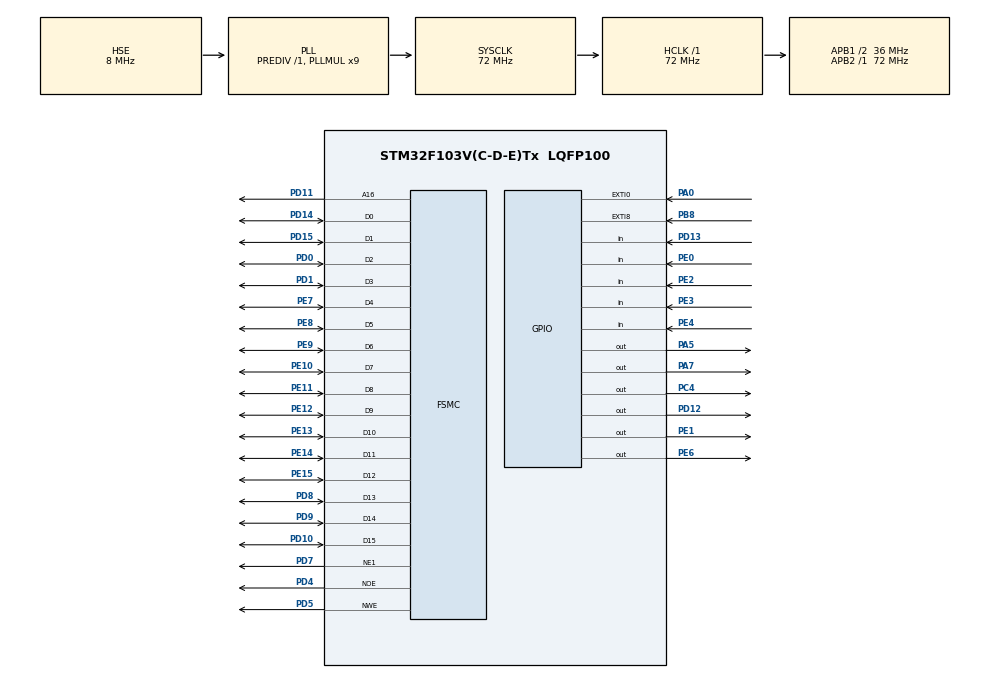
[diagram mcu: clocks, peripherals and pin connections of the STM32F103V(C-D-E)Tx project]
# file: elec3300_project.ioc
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Mcu.Family=STM32F1
Mcu.Name=STM32F103V(C-D-E)Tx
Mcu.Package=LQFP100
NVIC.EXTI4_IRQn=true\:0\:0\:false\:true\:true\:1\:true\:true
NVIC.EXTI9_5_IRQn=true\:0\:0\:false\:true\:true\:2\:true\:true
NVIC.PriorityGroup=NVIC_PRIORITYGROUP_4
OSC_IN.Mode=HSE-External-Oscillator
OSC_IN.Signal=RCC_OSC_IN
OSC_OUT.Mode=HSE-External-Oscillator
OSC_OUT.Signal=RCC_OSC_OUT
PA0-WKUP.Signal=GPXTI0
PA13.Mode=Serial_Wire
PA13.Signal=SYS_JTMS-SWDIO
PA14.Mode=Serial_Wire
PA14.Signal=SYS_JTCK-SWCLK
PA5.GPIO_Speed=GPIO_SPEED_FREQ_HIGH
PA5.PinState=GPIO_PIN_RESET
PA5.Signal=GPIO_Output
PA7.GPIO_Speed=GPIO_SPEED_FREQ_HIGH
PA7.Signal=GPIO_Output
PB8.GPIO_PuPd=GPIO_PULLDOWN
PB8.Signal=GPXTI8
PC14-OSC32_IN.Mode=LSE-External-Oscillator
PC14-OSC32_IN.Signal=RCC_OSC32_IN
PC15-OSC32_OUT.Mode=LSE-External-Oscillator
PC15-OSC32_OUT.Signal=RCC_OSC32_OUT
PC4.GPIO_Speed=GPIO_SPEED_FREQ_HIGH
PC4.Signal=GPIO_Output
PD0.Mode=16b-d1
PD0.Signal=FSMC_D2
PD1.Mode=16b-d1
PD1.Signal=FSMC_D3
PD10.Mode=16b-d1
PD10.Signal=FSMC_D15
PD11.Mode=A16_1
PD11.Signal=FSMC_A16
PD12.Signal=GPIO_Output
PD13.Signal=GPIO_Input
PD14.Mode=16b-d1
PD14.Signal=FSMC_D0
PD15.Mode=16b-d1
PD15.Signal=FSMC_D1
PD4.Mode=Lcd1
PD4.Signal=FSMC_NOE
PD5.Mode=Lcd1
PD5.Signal=FSMC_NWE
PD7.Mode=NorPsramChipSelect1_1
PD7.Signal=FSMC_NE1
PD8.Mode=16b-d1
PD8.Signal=FSMC_D13
PD9.Mode=16b-d1
PD9.Signal=FSMC_D14
PE0.Signal=GPIO_Input
PE1.Signal=GPIO_Output
PE10.Mode=16b-d1
PE10.Signal=FSMC_D7
PE11.Mode=16b-d1
PE11.Signal=FSMC_D8
PE12.Mode=16b-d1
PE12.Signal=FSMC_D9
PE13.Mode=16b-d1
PE13.Signal=FSMC_D10
PE14.Mode=16b-d1
PE14.Signal=FSMC_D11
PE15.Mode=16b-d1
PE15.Signal=FSMC_D12
PE2.Signal=GPIO_Input
PE3.Signal=GPIO_Input
PE4.Signal=GPIO_Input
PE6.GPIO_Speed=GPIO_SPEED_FREQ_HIGH
PE6.Signal=GPIO_Output
PE7.Mode=16b-d1
PE7.Signal=FSMC_D4
PE8.Mode=16b-d1
PE8.Signal=FSMC_D5
PE9.Mode=16b-d1
PE9.Signal=FSMC_D6
ProjectManager.HeapSize=0x200
ProjectManager.StackSize=0x400
ProjectManager.TargetToolchain=MDK-ARM V5
RCC.AHBFreq_Value=72000000
RCC.APB1CLKDivider=RCC_HCLK_DIV2
RCC.APB1Freq_Value=36000000
RCC.APB1TimFreq_Value=72000000
RCC.APB2Freq_Value=72000000
RCC.APB2TimFreq_Value=72000000
RCC.HCLKFreq_Value=72000000
RCC.PLLMUL=RCC_PLL_MUL9
RCC.PLLSourceVirtual=RCC_PLLSOURCE_HSE
RCC.SYSCLKFreq_VALUE=72000000
RCC.SYSCLKSource=RCC_SYSCLKSOURCE_PLLCLK
RCC.USBFreq_Value=72000000
board=custom

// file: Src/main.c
/* USER CODE BEGIN Header */
/**
  ******************************************************************************
  * @file           : main.c
  * @brief          : Main program body
  ******************************************************************************
  * @attention
  *
  * <h2><center>&copy; Copyright (c) 2021 STMicroelectronics.
  * All rights reserved.</center></h2>
  *
  * This software component is licensed by ST under BSD 3-Clause license,
  * the "License"; You may not use this file except in compliance with the
  * License. You may obtain a copy of the License at:
  *                        opensource.org/licenses/BSD-3-Clause
  *
  ******************************************************************************
  */
/* USER CODE END Header */

#include "main.h"

/* USER CODE BEGIN Includes */

#include "stdbool.h"
#include "lcdtp.h"
#include "xpt2046.h"
#include <stdio.h>
#include <string.h>
#include <time.h>

/* USER CODE END Includes */

/* USER CODE BEGIN PD */
	#define DEFAULT_FONTSIZE 		16
	#define	ADDR0								0x08017400
	#define	ADDR1								0x08017800
	#define	ADDR2								0x08016000
	#define	ADDR3								0x08016800
	#define ADDR4			 					0x08017C00
	#define NUM_PAGE						7
	#define DEFAULT_ROTATION		700
	#define MIN_ROTATION				0
	#define MAX_ROTATION				1000
	#define DEFAULT_HOUR				2.0
	#define MAX_HOUR						36.0

/* USER CODE END PD */

	SRAM_HandleTypeDef hsram1;

/* USER CODE BEGIN PV */
	char *windDirName[3] = {"clockwise", "anti-clockwise", "bi-directional"};
	bool interruptFlag = false;
	unsigned int interruptTimer = refractoryPeriod;
	strType_XPT2046_TouchPara touchPara = {0.085958, -0.001073, -4.979353, -0.001750, 0.065168, -13.318824};

	char *modelName[] = {"AP Royal Oak 2012", "CHOPARD LUC 1937", "HUBLOT 1915", "PIAGET Altiplano", "OMEGA Seamaster"};
	int modelTurn[5] = {800, 800, 650, 1340, 650};
	int modelWindDir[5] = {0,0,2,1,2};

/* USER CODE END PV */

	void SystemClock_Config(void);
	static void MX_GPIO_Init(void);
	static void MX_FSMC_Init(void);
	static void MX_NVIC_Init(void);

/* USER CODE BEGIN 0 */

	uint32_t eraseAllData(void) {
		/*
		Erase all data of previous task in flash memory
		*/
		static FLASH_EraseInitTypeDef EraseInitStruct;
		uint64_t startAddr = ADDR2;
		uint32_t pageError = 0;

		HAL_FLASH_Unlock();

		EraseInitStruct.TypeErase = FLASH_TYPEERASE_PAGES;
		EraseInitStruct.PageAddress = startAddr;
		EraseInitStruct.NbPages = NUM_PAGE;

		if (HAL_FLASHEx_Erase(&EraseInitStruct, &pageError) != HAL_OK) {
			return HAL_FLASH_GetError();		// error during page erase
		}

		HAL_FLASH_Lock();
		return 0;
	}

	uint16_t loadData(char dataName[]) {
		/*
		Read intial Task data from flash memory
		*/
		uint64_t* dataAddr;
		if (!strcmp(dataName, "targetNumRotation")) {
			dataAddr = (uint64_t*) ADDR0;
		} else if (!strcmp(dataName, "curNumRotation")) {
			dataAddr = (uint64_t*) ADDR1;
		} else if (!strcmp(dataName, "targetHour")) {
			dataAddr = (uint64_t*) ADDR2;
		} else if (!strcmp(dataName, "curHour")) {
			dataAddr = (uint64_t*) ADDR3;
		} else if (!strcmp(dataName, "windDir")) {
			dataAddr = (uint64_t*) ADDR4;
		}
		return *dataAddr;
	}

	uint32_t saveData(char dataName[], double value) {
		/*
		Write new Task data to flash memory

		Notes: previous Task data (if exists) is not erased until new Task data is input
		*/
		uint64_t targetAddr;

		if (!strcmp(dataName, "targetNumRotation")) {
			targetAddr = ADDR0;
		} else if (!strcmp(dataName, "curNumRotation")) {
			targetAddr = ADDR1;
		} else if (!strcmp(dataName, "targetHour")) {
			targetAddr = ADDR2;
		} else if (!strcmp(dataName, "curHour")) {
			targetAddr = ADDR3;
		} else if (!strcmp(dataName, "windDir")) {
			targetAddr = ADDR4;
		}

		HAL_FLASH_Unlock();

		if (!strcmp(dataName, "curNumRotation")) {
			int tnr = (int)loadData("targetNumRotation");
			int thr = (int)loadData("targetHour");
			float chr = (float)loadData("curHour");
			eraseAllData();
			saveData("targetNumRotation",tnr);
			saveData("targetHour",thr);
			saveData("curHour",chr);
		}

		if (HAL_FLASH_Program(FLASH_TYPEPROGRAM_DOUBLEWORD, targetAddr, (uint16_t)value) != HAL_OK)
				return HAL_FLASH_GetError();

		HAL_FLASH_Lock();
		return 0;
	}

	bool checkOngoing(windingTask* task) {
		/*
		Check and load previous Task data in flash memory

		Notes: do sanity check here determine whether flash memory data is valid
		*/
		task->targetNumRotation = (int)loadData("targetNumRotation");
		task->curNumRotation = (int)loadData("curNumRotation");
		task->targetHour = (float)loadData("targetHour")/10;
		task->curHour = (float)loadData("curHour");
		task->windDir = (int)loadData("windDir");

		// Check if all data are within valid range
		if (task->targetNumRotation > task->curNumRotation && task->targetHour > task->curHour && \
			  task->targetNumRotation <= MAX_ROTATION && task->targetHour <= MAX_HOUR &&
		    task->curNumRotation >= MIN_ROTATION && task->curHour >= 0 && \
				task->windDir >= 0 && task->windDir <= 2)
		return true;
		return false;
	}

	void incrementInterruptTimer (int step) {
		/*
		Helper function for interrupt
		*/
		interruptTimer = interruptTimer == refractoryPeriod? refractoryPeriod: interruptTimer + step;
	}

	bool isTouched(void) {
		/*
		Helper function to check touchscreen status
		*/
		bool touched = (HAL_GPIO_ReadPin(GPIOE, GPIO_PIN_4)==GPIO_PIN_RESET);
		HAL_GPIO_WritePin(GPIOE, GPIO_PIN_4, GPIO_PIN_SET);
		return touched;
	}

	int selectInputType(void) {
		/*
		Helper function to choose predefined model/manual input
		*/
		LCD_DrawString(50,50,"Configure run from", DEFAULT_FONTSIZE);
		LCD_DrawRectButton(50,150,150,40,"Model List", BLACK);
		LCD_DrawRectButton(50,200,150,40,"Manual Input", BLACK);
		HAL_Delay(300);

		strType_XPT2046_Coordinate coords;
		while (true) {
			if (isTouched()) {
				XPT2046_Get_TouchedPoint(&coords, &touchPara);
				// option1: predefined model
				if ((int)coords.y >= 50 && (int)coords.y <= 200 && (int)coords.x >= 130 && (int)coords.x <= 170) {		// 320-150, 320-190
					return 0;
				}
				// option2: manual input
				else if ((int)coords.y >= 50 && (int)coords.y <= 200 && (int)coords.x >= 80 && (int)coords.x <= 120) {	// 320-200, 320-240
					return 1;
			}
		}
	}
}

	void selectModel(windingTask* task) {
		/*
		Select watch model with predefined winding details
		*/
		int startP = 100, height = 40;

		// display 5 predefined models
		LCD_DrawString(50,50,"Select watch model",DEFAULT_FONTSIZE);
		for(int i = 0; i < 5; i++) {
			LCD_DrawRectButton(30,startP+(i*height),170,height,modelName[i], BLACK);
		}

		strType_XPT2046_Coordinate coords;
		while(true) {
			if(isTouched()) {
				XPT2046_Get_TouchedPoint(&coords, &touchPara);
				if(coords.y >= 30 && coords.y <= 200) {
					int modelNo = (int)((320-coords.x-startP)/40);
					LCD_Clear(10,50,200,270,BACKGROUND);
					task->targetNumRotation = modelTurn[modelNo];
					task->windDir = modelWindDir[modelNo];
					task->targetHour = 7*modelTurn[modelNo]/3600.0;

					// save new Task data to memory
					eraseAllData();
					saveData("targetNumRotation",modelTurn[modelNo]);
					saveData("targetHour",(int)(task->targetHour*10));
					saveData("curNumRotation",0);
					saveData("curHour", 0.0);
					saveData("windDir",modelWindDir[modelNo]);
					LCD_DrawString(50,50,"Model selected",DEFAULT_FONTSIZE);
					LCD_DrawString(30,100,modelName[modelNo],DEFAULT_FONTSIZE);
					HAL_Delay(1000);

					// configure new Task locally
					int tnr = (int)loadData("targetNumRotation");
					int cnr = (int)loadData("curNumRotation");
					int dir = (int)loadData("windDir");
					float thr = (float)loadData("targetHour")/10;
					float chr = (float)loadData("curHour");

					// display winding details of predefined model
					char buffer[50];
					LCD_Clear(0,0,240,320,BACKGROUND);
					sprintf(buffer, "rotation: %d, %d", tnr, cnr);
					LCD_DrawString(10,50,buffer,DEFAULT_FONTSIZE);
					sprintf(buffer, "hour: %0.1f, %0.1f", thr, chr);
					LCD_DrawString(10,70,buffer,DEFAULT_FONTSIZE);
					sprintf(buffer, "direction: %d", dir);
					LCD_DrawString(10,90,buffer,DEFAULT_FONTSIZE);
					HAL_Delay(1000);
					return;
				}
			}
		}
	}

	void inputTurn(windingTask* task) {
		/*
		Manually input number of rotation turns
		*/
		int tmpRotation = DEFAULT_ROTATION;
		char buffer[50];

		sprintf(buffer, "%d", tmpRotation);
		LCD_DrawString(50,50,"Input rotation number",DEFAULT_FONTSIZE);
		LCD_DrawRectButton(50,150,150,40,"- 100 rotation", BLACK);
		LCD_DrawRectButton(50,200,150,40,"+ 100 rotation", BLACK);
		LCD_DrawString(170,300,"Next >>",DEFAULT_FONTSIZE);
		LCD_DrawString(100,100,buffer,DEFAULT_FONTSIZE); 		// default rotation

		strType_XPT2046_Coordinate coords;
		while (true) {
			if (isTouched()) {
				XPT2046_Get_TouchedPoint(&coords, &touchPara);
				// decrement by 100 rotation
				if (tmpRotation > MIN_ROTATION && coords.y >= 50 && coords.y <= 200 && coords.x >= 130 && coords.x <= 170) {		// 320-150, 320-190
					tmpRotation -= 100;
					sprintf(buffer, "%d", tmpRotation);
				}
				// increment by 100 rotation
				else if (tmpRotation < MAX_ROTATION && coords.y >= 50 && coords.y <= 200 && coords.x >= 80 && coords.x <= 120){		// 320-200, 320-240
					tmpRotation += 100;
					sprintf(buffer, "%d", tmpRotation);
				}
				// finish input, move to next input option
				else if (coords.y >= 180 && coords.y <= 250 && coords.x > 0 && coords.x <= 50){			// 320-180, 320-320
					task->targetNumRotation = tmpRotation;
					saveData("targetNumRotation", tmpRotation);
					return;
				}
				LCD_Clear (10, 100, 240, 50, BACKGROUND);
				LCD_DrawString(100,100,buffer,DEFAULT_FONTSIZE);
				HAL_Delay(100);
			}
		}
	}

	void inputHour(windingTask* task) {
		/*
		Manually input winding hour
		*/
		float tmpHour = DEFAULT_HOUR;
		char buffer[50];

		sprintf(buffer, "%0.1f hour", tmpHour);
		LCD_Clear(0,0,240,320,BACKGROUND);
		LCD_DrawString(50,50,"Input winding hour", DEFAULT_FONTSIZE);
		LCD_DrawRectButton(50,150,100,40,"- 1/2 hour", BLACK);
		LCD_DrawRectButton(50,200,100,40,"+ 1/2 hour", BLACK);
		LCD_DrawString(170,300,"Next >>", DEFAULT_FONTSIZE);
		LCD_DrawString(100,100,buffer,DEFAULT_FONTSIZE);
		double MIN_HOUR = (double)loadData("targetNumRotation")*7/3600.0;

		strType_XPT2046_Coordinate coords;
		while (true) {
			if (isTouched()) {
				XPT2046_Get_TouchedPoint(&coords, &touchPara);
				// decrement by 1/2 hour
				if (tmpHour - 0.5 >= MIN_HOUR && coords.y >= 50 && coords.y <= 150 && coords.x >= 130 && coords.x <= 170) {		// 320-150, 320-190
					tmpHour -= 0.5;
					sprintf(buffer, "%0.1f	hour", tmpHour);
				}
				// increment by 1/2 hour
				else if (tmpHour + 0.5 <= MAX_HOUR && coords.y >= 50 && coords.y <= 150 && coords.x >= 80 && coords.x <= 120){		// 320-200, 320-240
					tmpHour += 0.5;
					sprintf(buffer, "%0.1f	hour", tmpHour);
				}
				// finish input, move to next operation
				else if (coords.y >= 180 && coords.y <= 250 && coords.x > 0 && coords.x <= 50){			// 320-180, 320-320
					task->targetHour = tmpHour;
					saveData("targetHour", (int)(tmpHour*10));
					return;
				}
				// invalid input
				LCD_Clear (10, 100, 240, 50, BACKGROUND);
				LCD_DrawString(100,100,buffer,DEFAULT_FONTSIZE);
				HAL_Delay(100);
			}
		}
	}

	void inputDirection(windingTask* task) {
		/*
		Manually input winding direction
		*/
		int windDir;
		LCD_DrawString(30,50,"Choose winding direction",DEFAULT_FONTSIZE);
		for (int i = 0; i < 3; i++) {
			LCD_DrawRectButton(30,120+(50*i),140,40,windDirName[i], BLACK);
		}
		LCD_DrawString(170,300,"Next >>",DEFAULT_FONTSIZE);

		strType_XPT2046_Coordinate coords;
		while (true) {
			if (isTouched()) {
				XPT2046_Get_TouchedPoint(&coords, &touchPara);
				// clockwise
				if (coords.y >= 30 && coords.y <= 170 && coords.x >= 160 && coords.x <= 200) {		// 320-150, 320-190
					windDir = 0;
				}
				// anti-clockwise
				else if (coords.y >= 30 && coords.y <= 170 && coords.x >= 110 && coords.x <= 150){		// 320-200, 320-240
					windDir = 1;
				}
				// bi-direction
				else if (coords.y >= 30 && coords.y <= 170 && coords.x >= 60 && coords.x <= 100){			// 320-180, 320-320
					windDir = 2;
				}
				// next
				else if (coords.y >= 170 && coords.y <= 240 && coords.x >= 20 && coords.x <= 60) {
					task->windDir = windDir;
					saveData("windDir", windDir);
					return;
				}
				// invalid input
				LCD_Clear (10, 70, 240, 50, BACKGROUND);
				LCD_DrawString(50,80,windDirName[windDir],DEFAULT_FONTSIZE);
				task->windDir = windDir;
				HAL_Delay(100);
			}
	}
}

	bool startNewTask(windingTask* task) {
		/*
		Input and save target rotation and winding hour of new task
		*/
		LCD_Clear (0, 0, 240, 320, BACKGROUND);
		LCD_DrawString (20, 50, "Starting new task...", DEFAULT_FONTSIZE);
		HAL_Delay(1000);
		LCD_Clear (0, 0, 240, 320, BACKGROUND);

		int inputType = selectInputType();
		switch(inputType) {
			case 0:			// predefined parameter
				LCD_Clear (0, 0, 240, 320, BACKGROUND);
				selectModel(task);
				break;
			case 1: 		// manual input
				LCD_Clear (0, 0, 240, 320, BACKGROUND);
				inputTurn(task);
				LCD_Clear (0, 0, 240, 320, BACKGROUND);
				inputHour(task);
				LCD_Clear (0, 0, 240, 320, BACKGROUND);
				inputDirection(task);
				break;
		}
		return true;
	}

	void rotateFullCycle(int mode) {
		/*
		Start step motor and rotate full cycle with different rotation direction
		*/
		int t = 2;
		for (int i = 0; i < 512; i++){
			incrementInterruptTimer(1);
			switch (mode) {
				case 0:
					HAL_GPIO_WritePin(GPIOA, GPIO_PIN_5, GPIO_PIN_RESET);
					HAL_GPIO_WritePin(GPIOA, GPIO_PIN_7, GPIO_PIN_RESET);
					HAL_GPIO_WritePin(GPIOE, GPIO_PIN_6, GPIO_PIN_RESET);
					HAL_GPIO_WritePin(GPIOC, GPIO_PIN_4, GPIO_PIN_SET);
					HAL_Delay(t);

					HAL_GPIO_WritePin(GPIOA, GPIO_PIN_5, GPIO_PIN_RESET);
					HAL_GPIO_WritePin(GPIOA, GPIO_PIN_7, GPIO_PIN_RESET);
					HAL_GPIO_WritePin(GPIOE, GPIO_PIN_6, GPIO_PIN_SET);
					HAL_GPIO_WritePin(GPIOC, GPIO_PIN_4, GPIO_PIN_RESET);
					HAL_Delay(t);

					HAL_GPIO_WritePin(GPIOA, GPIO_PIN_5, GPIO_PIN_RESET);
					HAL_GPIO_WritePin(GPIOA, GPIO_PIN_7, GPIO_PIN_SET);
					HAL_GPIO_WritePin(GPIOE, GPIO_PIN_6, GPIO_PIN_RESET);
					HAL_GPIO_WritePin(GPIOC, GPIO_PIN_4, GPIO_PIN_RESET);
					HAL_Delay(t);

					HAL_GPIO_WritePin(GPIOA, GPIO_PIN_5, GPIO_PIN_SET);
					HAL_GPIO_WritePin(GPIOA, GPIO_PIN_7, GPIO_PIN_RESET);
					HAL_GPIO_WritePin(GPIOE, GPIO_PIN_6, GPIO_PIN_RESET);
					HAL_GPIO_WritePin(GPIOC, GPIO_PIN_4, GPIO_PIN_RESET);
					HAL_Delay(t);
					break;
				case 1:
					HAL_GPIO_WritePin(GPIOA, GPIO_PIN_5, GPIO_PIN_SET);
					HAL_GPIO_WritePin(GPIOA, GPIO_PIN_7, GPIO_PIN_RESET);
					HAL_GPIO_WritePin(GPIOE, GPIO_PIN_6, GPIO_PIN_RESET);
					HAL_GPIO_WritePin(GPIOC, GPIO_PIN_4, GPIO_PIN_RESET);
					HAL_Delay(t);

					HAL_GPIO_WritePin(GPIOA, GPIO_PIN_5, GPIO_PIN_RESET);
					HAL_GPIO_WritePin(GPIOA, GPIO_PIN_7, GPIO_PIN_SET);
					HAL_GPIO_WritePin(GPIOE, GPIO_PIN_6, GPIO_PIN_RESET);
					HAL_GPIO_WritePin(GPIOC, GPIO_PIN_4, GPIO_PIN_RESET);
					HAL_Delay(t);

					HAL_GPIO_WritePin(GPIOA, GPIO_PIN_5, GPIO_PIN_RESET);
					HAL_GPIO_WritePin(GPIOA, GPIO_PIN_7, GPIO_PIN_RESET);
					HAL_GPIO_WritePin(GPIOE, GPIO_PIN_6, GPIO_PIN_SET);
					HAL_GPIO_WritePin(GPIOC, GPIO_PIN_4, GPIO_PIN_RESET);
					HAL_Delay(t);

					HAL_GPIO_WritePin(GPIOA, GPIO_PIN_5, GPIO_PIN_RESET);
					HAL_GPIO_WritePin(GPIOA, GPIO_PIN_7, GPIO_PIN_RESET);
					HAL_GPIO_WritePin(GPIOE, GPIO_PIN_6, GPIO_PIN_RESET);
					HAL_GPIO_WritePin(GPIOC, GPIO_PIN_4, GPIO_PIN_SET);
					HAL_Delay(t);
			}
		}
	}

	void startRotate(windingTask* task) {
		/*
		Rotate
		*/
		LCD_Clear(0,50,200,200,BACKGROUND);
		LCD_DrawString(60,50,"Winding watch...", DEFAULT_FONTSIZE);

		int dir = task->windDir == 2 ? 0:task->windDir;
		int tnr = task->targetNumRotation;
		int cnr = (int)loadData("curNumRotation");
		int delayBetweenWind = (int)(float)loadData("targetHour")/10*60*60*1000.0/tnr - 6;
		delayBetweenWind = 1000;

		// configure progress bar
		progressBar pb;
		pb.range = tnr;
		pb.left = 18;
		pb.top = 150;
		pb.width = 204;
		pb.height = 20;
		LCD_DrawRectButton(pb.left,pb.top,pb.width,pb.height,"",BLACK);

		// update flash memory and progress bar after each rotation
		for (int i = 0; i < tnr; i++) {
			LCD_Clear(50, 100, 200, 20, BACKGROUND);
			while(interruptFlag) {
				LCD_Clear(50, 100, 200, 20, BACKGROUND);
				incrementInterruptTimer(1);
			}
			rotateFullCycle(dir);
			LCD_UpdatePb(&pb, i+1,BLUE);
			task->curNumRotation = i;
			if ((rand() % 2) && (int)loadData("windDir") == 2) {
				dir = !dir;
				HAL_Delay(delayBetweenWind);
			}
			if (saveData("curNumRotation", i)) break;
		}
		LCD_UpdatePb(&pb, tnr, BLUE);

	}

	void startWinding(windingTask* task) {
		/*
		Start winding process and display progress
		*/
		char buffer1[50], buffer2[50], buffer3[50];
		sprintf(buffer1, "Turn: %d", task->targetNumRotation);
		sprintf(buffer2, "Duration: %0.1f hour", (float)loadData("targetHour")/10);
		sprintf(buffer3, "Direction: %s", windDirName[task->windDir]);

		LCD_Clear(0,0,240,320,BACKGROUND);
		LCD_DrawString(10,50,buffer1,DEFAULT_FONTSIZE);
		LCD_DrawString(10,70,buffer2,DEFAULT_FONTSIZE);
		LCD_DrawString(10,90,buffer3,DEFAULT_FONTSIZE);
		sprintf(buffer3, "CurDuration: %0.1f hour",task->curHour);
		LCD_DrawString(10,110,buffer3,DEFAULT_FONTSIZE);

		LCD_DrawRectButton(70,150,100,50,"Start",BLACK);

		strType_XPT2046_Coordinate coords;
		while (true) {
			if (isTouched()) {
				XPT2046_Get_TouchedPoint(&coords, &touchPara);
				if (coords.y >= 50 && coords.y <= 200 && coords.x >= 130 && coords.x <= 170) {		// 320-150, 320-190
					startRotate(task);
					eraseAllData();
					break; 		// finish rotation
				}
			}
		}
	}

/* USER CODE END 0 */

int main(void)
{
  /* USER CODE BEGIN 1 */
	/*
	int prevRotation, prevTargetRotation;
	float prevHour, prevTargetHour;
	*/
  /* USER CODE END 1 */

  /* MCU Configuration--------------------------------------------------------*/

  /* Reset of all peripherals, Initializes the Flash interface and the Systick. */
  HAL_Init();

  /* Configure the system clock */
  SystemClock_Config();

  /* Initialize all configured peripherals */
  MX_GPIO_Init();
  MX_FSMC_Init();

  /* Initialize interrupts */
  MX_NVIC_Init();
  /* USER CODE BEGIN 2 */
	macXPT2046_CS_DISABLE();
	LCD_INIT();

	windingTask prevTask, curTask;
	bool prevFlag = checkOngoing(&prevTask);		// check for previous task
	bool setupReady = false;

  /* USER CODE END 2 */

  /* Infinite loop */
  /* USER CODE BEGIN WHILE */

  while (1)
  {
    if (prevFlag) {
			LCD_DrawString(30,50,"Continue previous task?",DEFAULT_FONTSIZE);
			LCD_DrawRectButton(30,150,70,50, "Yes", BLACK);
			LCD_DrawRectButton(130,150,70,50, "No", BLACK);
			while (!setupReady) {
				if (isTouched()) {
					strType_XPT2046_Coordinate coords;
					XPT2046_Get_TouchedPoint(&coords, &touchPara);

					// continue prev task
					if (coords.y >= 30 && coords.y <= 100 && coords.x <= 170 && coords.x >= 120) {		// 320-150,320-200
						curTask.targetNumRotation = prevTask.targetNumRotation;
						curTask.curNumRotation = prevTask.curNumRotation;
						curTask.targetHour = prevTask.targetHour;
						curTask.curHour = prevTask.curHour;
						curTask.windDir = prevTask.windDir;
						setupReady = true;
						break;
					}

					// start a new task
					else if (coords.y >= 130 && coords.y <= 200 && coords.x <= 170 && coords.x >= 120){		// 320-150, 320-200
						LCD_Clear (0, 0, 240, 320, BACKGROUND);
						eraseAllData();
						LCD_DrawString(20,50,"Removing previous task...", DEFAULT_FONTSIZE);
						HAL_Delay(1000);
						setupReady = startNewTask(&curTask);
						break;
					}
				}
			}
		}
		// start a new task
		else {
			setupReady = startNewTask(&curTask);
		}
		LCD_Clear (0, 0, 240, 320, BACKGROUND);
		startWinding(&curTask);
		prevFlag = false;			// to start new task
		setupReady = false;		// to set up new task

    /* USER CODE END WHILE */

  }
}

void SystemClock_Config(void)
{
  RCC_OscInitTypeDef RCC_OscInitStruct = {0};
  RCC_ClkInitTypeDef RCC_ClkInitStruct = {0};

  /** Initializes the CPU, AHB and APB busses clocks
  */
  RCC_OscInitStruct.OscillatorType = RCC_OSCILLATORTYPE_HSE;
  RCC_OscInitStruct.HSEState = RCC_HSE_ON;
  RCC_OscInitStruct.HSEPredivValue = RCC_HSE_PREDIV_DIV1;
  RCC_OscInitStruct.HSIState = RCC_HSI_ON;
  RCC_OscInitStruct.PLL.PLLState = RCC_PLL_ON;
  RCC_OscInitStruct.PLL.PLLSource = RCC_PLLSOURCE_HSE;
  RCC_OscInitStruct.PLL.PLLMUL = RCC_PLL_MUL9;
  if (HAL_RCC_OscConfig(&RCC_OscInitStruct) != HAL_OK)
  {
    Error_Handler();
  }
  /** Initializes the CPU, AHB and APB busses clocks
  */
  RCC_ClkInitStruct.ClockType = RCC_CLOCKTYPE_HCLK|RCC_CLOCKTYPE_SYSCLK
                              |RCC_CLOCKTYPE_PCLK1|RCC_CLOCKTYPE_PCLK2;
  RCC_ClkInitStruct.SYSCLKSource = RCC_SYSCLKSOURCE_PLLCLK;
  RCC_ClkInitStruct.AHBCLKDivider = RCC_SYSCLK_DIV1;
  RCC_ClkInitStruct.APB1CLKDivider = RCC_HCLK_DIV2;
  RCC_ClkInitStruct.APB2CLKDivider = RCC_HCLK_DIV1;

  if (HAL_RCC_ClockConfig(&RCC_ClkInitStruct, FLASH_LATENCY_2) != HAL_OK)
  {
    Error_Handler();
  }
}

/**
  * @brief NVIC Configuration.
  * @retval None
  */
static void MX_NVIC_Init(void)
{
  /* EXTI4_IRQn interrupt configuration */
  HAL_NVIC_SetPriority(EXTI4_IRQn, 0, 0);
  HAL_NVIC_EnableIRQ(EXTI4_IRQn);
  /* EXTI9_5_IRQn interrupt configuration */
  HAL_NVIC_SetPriority(EXTI9_5_IRQn, 0, 0);
  HAL_NVIC_EnableIRQ(EXTI9_5_IRQn);
}

static void MX_GPIO_Init(void)
{
  GPIO_InitTypeDef GPIO_InitStruct = {0};

  /* GPIO Ports Clock Enable */
  __HAL_RCC_GPIOE_CLK_ENABLE();
  __HAL_RCC_GPIOC_CLK_ENABLE();
  __HAL_RCC_GPIOA_CLK_ENABLE();
  __HAL_RCC_GPIOD_CLK_ENABLE();
  __HAL_RCC_GPIOB_CLK_ENABLE();

  /*Configure GPIO pin Output Level */
  HAL_GPIO_WritePin(GPIOE, GPIO_PIN_2|GPIO_PIN_6|GPIO_PIN_0|GPIO_PIN_1, GPIO_PIN_RESET);

  /*Configure GPIO pin Output Level */
  HAL_GPIO_WritePin(GPIOA, GPIO_PIN_5|GPIO_PIN_7, GPIO_PIN_RESET);

  /*Configure GPIO pin Output Level */
  HAL_GPIO_WritePin(GPIOC, GPIO_PIN_4, GPIO_PIN_RESET);

  /*Configure GPIO pin Output Level */
  HAL_GPIO_WritePin(GPIOD, GPIO_PIN_12|GPIO_PIN_13, GPIO_PIN_RESET);

  /*Configure GPIO pins : PE2 PE0 PE1 */
  GPIO_InitStruct.Pin = GPIO_PIN_2|GPIO_PIN_0|GPIO_PIN_1;
  GPIO_InitStruct.Mode = GPIO_MODE_OUTPUT_PP;
  GPIO_InitStruct.Pull = GPIO_NOPULL;
  GPIO_InitStruct.Speed = GPIO_SPEED_FREQ_HIGH;
  HAL_GPIO_Init(GPIOE, &GPIO_InitStruct);

  /*Configure GPIO pin : PE3 */
  GPIO_InitStruct.Pin = GPIO_PIN_3;
  GPIO_InitStruct.Mode = GPIO_MODE_INPUT;
  GPIO_InitStruct.Pull = GPIO_PULLUP;
  HAL_GPIO_Init(GPIOE, &GPIO_InitStruct);

  /*Configure GPIO pin : PE4 */
  GPIO_InitStruct.Pin = GPIO_PIN_4;
  GPIO_InitStruct.Mode = GPIO_MODE_IT_RISING;
  GPIO_InitStruct.Pull = GPIO_PULLUP;
  HAL_GPIO_Init(GPIOE, &GPIO_InitStruct);

  /*Configure GPIO pin : PE6 */
  GPIO_InitStruct.Pin = GPIO_PIN_6;
  GPIO_InitStruct.Mode = GPIO_MODE_OUTPUT_PP;
  GPIO_InitStruct.Pull = GPIO_NOPULL;
  GPIO_InitStruct.Speed = GPIO_SPEED_FREQ_LOW;
  HAL_GPIO_Init(GPIOE, &GPIO_InitStruct);

  /*Configure GPIO pins : PA5 PA7 */
  GPIO_InitStruct.Pin = GPIO_PIN_5|GPIO_PIN_7;
  GPIO_InitStruct.Mode = GPIO_MODE_OUTPUT_PP;
  GPIO_InitStruct.Pull = GPIO_NOPULL;
  GPIO_InitStruct.Speed = GPIO_SPEED_FREQ_LOW;
  HAL_GPIO_Init(GPIOA, &GPIO_InitStruct);

  /*Configure GPIO pin : PC4 */
  GPIO_InitStruct.Pin = GPIO_PIN_4;
  GPIO_InitStruct.Mode = GPIO_MODE_OUTPUT_PP;
  GPIO_InitStruct.Pull = GPIO_NOPULL;
  GPIO_InitStruct.Speed = GPIO_SPEED_FREQ_LOW;
  HAL_GPIO_Init(GPIOC, &GPIO_InitStruct);

  /*Configure GPIO pins : PD12 PD13 */
  GPIO_InitStruct.Pin = GPIO_PIN_12|GPIO_PIN_13;
  GPIO_InitStruct.Mode = GPIO_MODE_OUTPUT_PP;
  GPIO_InitStruct.Pull = GPIO_NOPULL;
  GPIO_InitStruct.Speed = GPIO_SPEED_FREQ_HIGH;
  HAL_GPIO_Init(GPIOD, &GPIO_InitStruct);

  /*Configure GPIO pin : PB8 */
  GPIO_InitStruct.Pin = GPIO_PIN_8;
  GPIO_InitStruct.Mode = GPIO_MODE_IT_RISING;
  GPIO_InitStruct.Pull = GPIO_PULLDOWN;
  HAL_GPIO_Init(GPIOB, &GPIO_InitStruct);

}

/* FSMC initialization function */
static void MX_FSMC_Init(void)
{

  FSMC_NORSRAM_TimingTypeDef Timing = {0};

  /** Perform the SRAM1 memory initialization sequence
  */
  hsram1.Instance = FSMC_NORSRAM_DEVICE;
  hsram1.Extended = FSMC_NORSRAM_EXTENDED_DEVICE;
  /* hsram1.Init */
  hsram1.Init.NSBank = FSMC_NORSRAM_BANK1;
  hsram1.Init.DataAddressMux = FSMC_DATA_ADDRESS_MUX_DISABLE;
  hsram1.Init.MemoryType = FSMC_MEMORY_TYPE_SRAM;
  hsram1.Init.MemoryDataWidth = FSMC_NORSRAM_MEM_BUS_WIDTH_16;
  hsram1.Init.BurstAccessMode = FSMC_BURST_ACCESS_MODE_DISABLE;
  hsram1.Init.WaitSignalPolarity = FSMC_WAIT_SIGNAL_POLARITY_LOW;
  hsram1.Init.WrapMode = FSMC_WRAP_MODE_DISABLE;
  hsram1.Init.WaitSignalActive = FSMC_WAIT_TIMING_BEFORE_WS;
  hsram1.Init.WriteOperation = FSMC_WRITE_OPERATION_ENABLE;
  hsram1.Init.WaitSignal = FSMC_WAIT_SIGNAL_DISABLE;
  hsram1.Init.ExtendedMode = FSMC_EXTENDED_MODE_DISABLE;
  hsram1.Init.AsynchronousWait = FSMC_ASYNCHRONOUS_WAIT_DISABLE;
  hsram1.Init.WriteBurst = FSMC_WRITE_BURST_DISABLE;
  /* Timing */
  Timing.AddressSetupTime = 15;
  Timing.AddressHoldTime = 15;
  Timing.DataSetupTime = 255;
  Timing.BusTurnAroundDuration = 15;
  Timing.CLKDivision = 16;
  Timing.DataLatency = 17;
  Timing.AccessMode = FSMC_ACCESS_MODE_A;
  /* ExtTiming */

  if (HAL_SRAM_Init(&hsram1, &Timing, NULL) != HAL_OK)
  {
    Error_Handler( );
  }

  /** Disconnect NADV
  */

  __HAL_AFIO_FSMCNADV_DISCONNECTED();

}

void Error_Handler(void)
{
}

/************************ (C) COPYRIGHT STMicroelectronics *****END OF FILE****/
